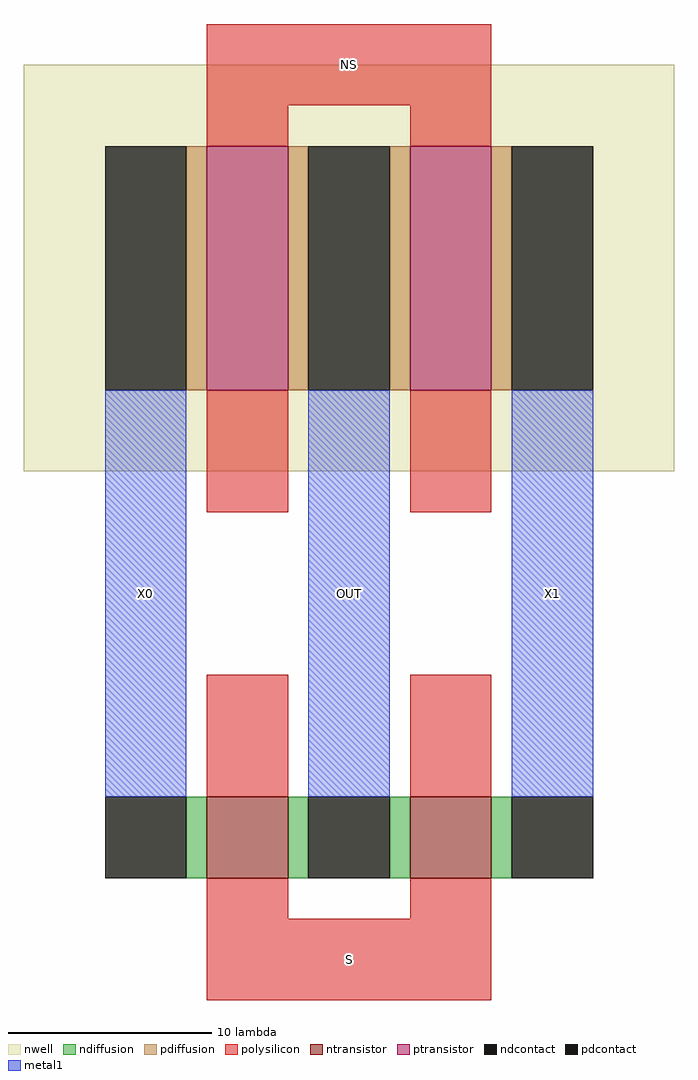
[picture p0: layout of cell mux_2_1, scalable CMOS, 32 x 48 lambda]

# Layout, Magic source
magic
tech scmos
<< nwell >>
rect 0 20 32 40
<< polysilicon >>
rect 9 38 23 42
rect 9 36 13 38
rect 19 36 23 38
rect 9 18 13 24
rect 19 18 23 24
rect 9 4 13 10
rect 19 4 23 10
rect 9 -2 13 0
rect 19 -2 23 0
rect 9 -6 23 -2
<< ndiffusion >>
rect 8 0 9 4
rect 13 0 14 4
rect 18 0 19 4
rect 23 0 24 4
<< pdiffusion >>
rect 8 24 9 36
rect 13 24 14 36
rect 18 24 19 36
rect 23 24 24 36
<< metal1 >>
rect 4 4 8 24
rect 14 4 18 24
rect 24 4 28 24
<< ntransistor >>
rect 9 0 13 4
rect 19 0 23 4
<< ptransistor >>
rect 9 24 13 36
rect 19 24 23 36
<< ndcontact >>
rect 4 0 8 4
rect 14 0 18 4
rect 24 0 28 4
<< pdcontact >>
rect 4 24 8 36
rect 14 24 18 36
rect 24 24 28 36
<< labels >>
flabel metal1 14 4 18 24 0 FreeMono 40 0 0 0 OUT
flabel polysilicon 14 -6 18 -2 0 FreeMono 40 0 0 0 S
port 1 nsew
flabel polysilicon 14 38 18 42 0 FreeMono 40 0 0 0 NS
port 2 nsew
flabel metal1 4 4 8 24 0 FreeMono 40 0 -8 0 X0
port 6 nsew
flabel metal1 24 4 28 24 0 FreeMono 40 0 8 0 X1
port 9 nsew
<< end >>
